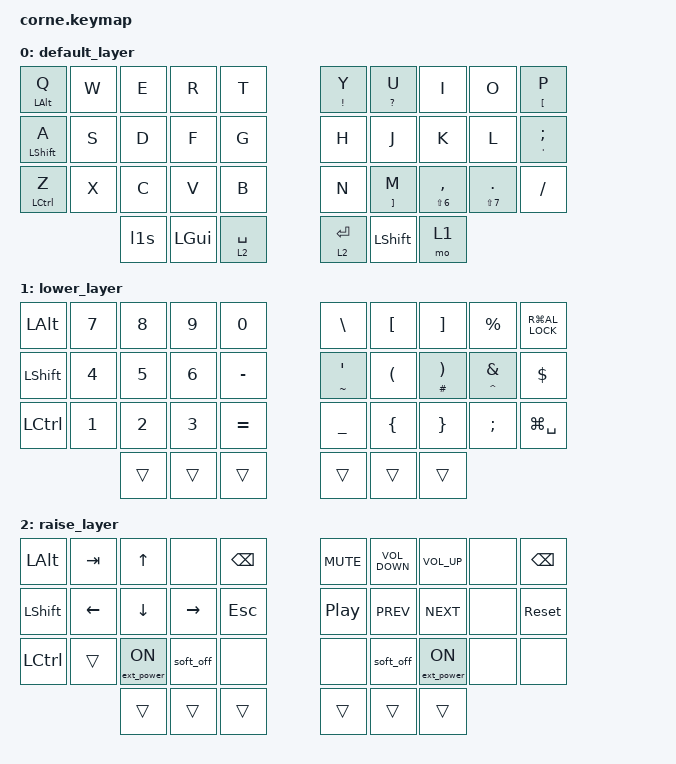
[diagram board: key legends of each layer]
/*
 * Copyright (c) 2020 The ZMK Contributors
 *
 * SPDX-License-Identifier: MIT
 */

#include <behaviors.dtsi>
#include <dt-bindings/zmk/keys.h>
#include <dt-bindings/zmk/bt.h>
#include <dt-bindings/zmk/ext_power.h>

&mt {
    flavor = "tap-preferred";
};
&soft_off {
        hold-time-ms = <5000>; // Only turn off it the key is held for 5 seconds or longer.
};

&pro_micro_i2c {
    status = "okay";

    oled: ssd1306@3c {
        compatible = "solomon,ssd1306fb";
        reg = <0x3c>;
        width = <128>;
        height = <64>;
        segment-offset = <0>;
        page-offset = <0>;
        display-offset = <0>;
        multiplex-ratio = <63>;
        segment-remap;
        com-invdir;
        inversion-on;
        prechargep = <0x22>;
    };
};

/ {
        chosen {
                zmk,physical-layout = &foostan_corne_5col_layout;
                // zmk,battery = &vbatt;
        };
        // vbatt: vbatt {
        //         compatible = "zmk,battery-nrf-vddh";
        //         label = "VBATT";
        // };
        combos {
                compatible = "zmk,combos";
                combo_a_top {
                timeout-ms = <50>;
                key-positions = <2 32>;
                bindings = <&kp LA(W)>; //e and space
                };
                combo_a_bot {
                timeout-ms = <50>;
                key-positions = <12 32>;
                bindings = <&kp LA(S)>;  //d and space
                };
                combo_a_left {
                timeout-ms = <50>;
                key-positions = <11 32>;  //s and space
                bindings = <&kp LA(A)>;
                };
                combo_a_right {
                timeout-ms = <50>;
                key-positions = <13 32>; //f and space
                bindings = <&kp LA(D)>;
                };
                combo_a_v {
                timeout-ms = <50>;
                key-positions = <11 31>; //w and cmd
                bindings = <&kp LA(V)>;
                };
                combo_a_h {
                timeout-ms = <50>;
                key-positions = <13 31>; //r and cmd
                bindings = <&kp LA(H)>;
                };
                combo_a_front {
                timeout-ms = <50>;
                key-positions = <2 31>; //e and cmd
                bindings = <&kp RG(RA(RIGHT_BRACKET))>;
                };
                combo_a_back {
                timeout-ms = <50>;
                key-positions = <12 31>; //d and cmd
                bindings = <&kp RG(RA(LEFT_BRACKET))>;
                };
                combo_screenshot {
                timeout-ms = <50>;
                key-positions = <0 31>; //q and cmd
                bindings = <&kp RG(RS(RC(NUMBER_4)))>;
                };
                combo_fullscreen {
                timeout-ms = <50>;
                key-positions = <24 31>; //b and cmd
                bindings = <&kp RG(PERIOD)>;
                };
                combo_autolayout {
                timeout-ms = <50>;
                key-positions = <14 32>; //a and space
                bindings = <&kp LS(A)>;
                };
        };
        behaviors {
                l1s: tap_dance_mod_tap_3 {
                compatible = "zmk,behavior-tap-dance";
                #binding-cells = <0>;
                tapping-term-ms = <200>;
                bindings = <&mo 1>, <&kp RET>;
                };
        };
        keymap {
                compatible = "zmk,keymap";

                default_layer {
                        bindings = <
                        &mt LALT Q  &kp W   &kp E   &kp R     &kp T        &mt EXCL Y          &mt QUESTION U        &kp I                       &kp O                  &mt LEFT_BRACKET P
                        &mt LSHFT A &kp S   &kp D   &kp F     &kp G        &kp H               &kp J                 &kp K                       &kp L                  &mt SQT SEMI
                        &mt LCTRL Z &kp X   &kp C   &kp V     &kp B        &kp N               &mt RIGHT_BRACKET M   &mt LS(NUMBER_6) COMMA      &mt LS(NUMBER_7) DOT   &kp FSLH
                                            &l1s    &kp LGUI  &lt 2 SPACE  &lt 2 RET           &kp LSHFT             &mo 1
                        >;
                };
                lower_layer {
                        bindings = <
                        &kp LALT   &kp N7  &kp N8   &kp N9    &kp N0       &kp BACKSLASH       &kp LEFT_BRACKET      &kp RIGHT_BRACKET           &kp PERCENT            &kp RG(C_AL_LOCK)
                        &kp LSHFT  &kp N4  &kp N5   &kp N6    &kp MINUS    &mt TILDE SQT       &kp LEFT_PARENTHESIS  &mt HASH RIGHT_PARENTHESIS  &mt CARET AMPERSAND    &kp DOLLAR
                        &kp LCTRL  &kp N1  &kp N2   &kp N3    &kp EQUAL    &kp UNDER           &kp LEFT_BRACE        &kp RIGHT_BRACE             &kp SEMICOLON          &kp LG(SPACE)
                                           &trans   &trans    &trans       &trans              &trans                &trans
                        >;
                };
                raise_layer {
                        bindings = <
                        &kp LALT    &kp TAB         &kp UP_ARROW      &none             &kp BACKSPACE   &kp C_MUTE         &kp C_VOLUME_DOWN &kp C_VOLUME_UP  &none   &kp BACKSPACE   
                        &kp LSHFT   &kp LEFT_ARROW  &kp DOWN_ARROW    &kp RIGHT_ARROW   &kp ESCAPE      &kp C_PLAY_PAUSE   &kp C_PREV        &kp C_NEXT       &none   &sys_reset  
                        &kp LCTRL   &trans          &ext_power EP_ON  &soft_off         &none           &none              &soft_off         &ext_power EP_ON &none   &none
                                                    &trans            &trans            &trans          &trans             &trans            &trans
                        >;
                };
        };
};
